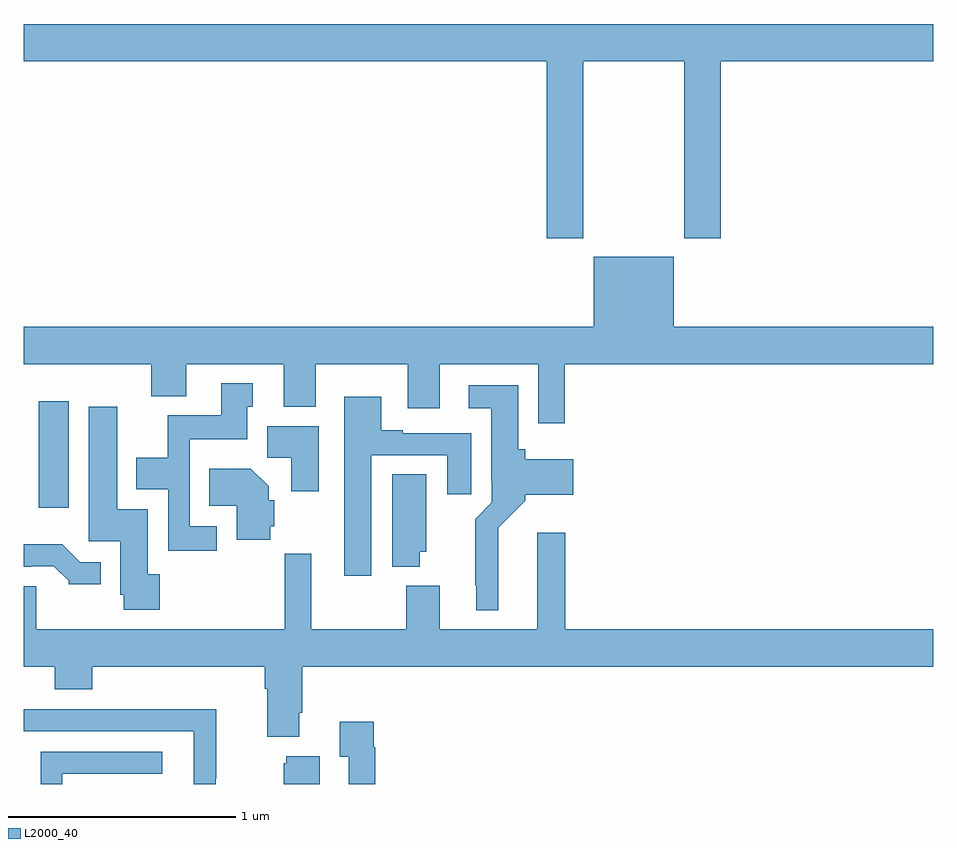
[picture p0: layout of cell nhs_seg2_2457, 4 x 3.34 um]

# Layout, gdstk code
import gdstk
lib = gdstk.Library(unit=1e-6, precision=1e-09)
def R(c, l, rs):  # rectangles x0, y0, x1, y1
    for r in rs: c.add(gdstk.rectangle(r[:2], r[2:], *l))
def P(c, l, *ps):  # polygons
    for p in ps: c.add(gdstk.Polygon(p, *l))
L2000_40 = (2000, 40)

nhs_seg2_2457 = lib.new_cell('nhs_seg2_2457')
R(nhs_seg2_2457, L2000_40, [(239.066,635.016,239.197,635.485)])
P(nhs_seg2_2457, L2000_40, [(241.461,636.98),(241.906,636.98),(241.906,636.201),(242.066,636.201),(242.066,636.98),(243,636.98),(243,637.144),(239,637.144),(239,636.98),(241.301,636.98),(241.301,636.201),(241.461,636.201)],
  [(241.379,635.648),(243,635.648),(243,635.812),(241.858,635.812),(241.858,636.121),(241.508,636.121),(241.508,635.812),(239,635.812),(239,635.648),(239.561,635.648),(239.561,635.507),(239.713,635.507),(239.713,635.648),(240.143,635.648),(240.143,635.459),(240.283,635.459),(240.283,635.648),(240.689,635.648),(240.689,635.454),(240.829,635.454),(240.829,635.648),(241.263,635.648),(241.263,635.388),(241.379,635.388)],
  [(239.848,634.935),(239.73,634.935),(239.73,635.318),(239.983,635.318),(239.983,635.46),(240.007,635.46),(240.007,635.563),(239.867,635.563),(239.867,635.422),(239.632,635.422),(239.632,635.236),(239.495,635.236),(239.495,635.096),(239.634,635.096),(239.634,634.827),(239.848,634.827)],
  [(241.087,634.928),(241.205,635.046),(241.205,635.072),(241.417,635.072),(241.417,635.23),(241.205,635.23),(241.205,635.274),(241.174,635.274),(241.174,635.554),(240.957,635.554),(240.957,635.453),(241.055,635.453),(241.055,635.134),(241.059,635.134),(241.059,635.04),(240.985,634.966),(240.985,634.675),(240.989,634.675),(240.989,634.565),(241.087,634.565)],
  [(240.529,635.247),(240.863,635.247),(240.863,635.076),(240.967,635.076),(240.967,635.343),(240.667,635.343),(240.667,635.356),(240.571,635.356),(240.571,635.503),(240.41,635.503),(240.41,634.716),(240.529,634.716)],
  [(239.597,634.722),(239.545,634.722),(239.545,635.008),(239.41,635.008),(239.41,635.461),(239.285,635.461),(239.285,634.869),(239.423,634.869),(239.423,634.632),(239.44,634.632),(239.44,634.566),(239.597,634.566)],
  [(240.298,635.374),(240.071,635.374),(240.071,635.236),(240.176,635.236),(240.176,635.088),(240.298,635.088)],
  [(240.084,634.935),(240.102,634.935),(240.102,635.049),(240.076,635.049),(240.076,635.11),(239.998,635.188),(239.815,635.188),(239.815,635.024),(239.936,635.024),(239.936,634.874),(240.084,634.874)],
  [(240.742,634.821),(240.769,634.821),(240.769,635.162),(240.62,635.162),(240.62,634.757),(240.742,634.757)],
  [(240.211,634.114),(240.224,634.114),(240.224,634.316),(243,634.316),(243,634.48),(241.382,634.48),(241.382,634.906),(241.259,634.906),(241.259,634.48),(240.829,634.48),(240.829,634.672),(240.682,634.672),(240.682,634.48),(240.265,634.48),(240.265,634.813),(240.148,634.813),(240.148,634.48),(239.053,634.48),(239.053,634.67),(239,634.67),(239,634.316),(239.135,634.316),(239.135,634.217),(239.3,634.217),(239.3,634.316),(240.059,634.316),(240.059,634.22),(240.071,634.22),(240.071,634.007),(240.211,634.007)],
  [(239.338,634.776),(239.247,634.776),(239.169,634.855),(239,634.855),(239,634.755),(239.033,634.755),(239.033,634.758),(239.132,634.758),(239.196,634.694),(239.196,634.679),(239.338,634.679)],
  [(239.844,633.823),(239.847,633.823),(239.847,634.13),(239.383,634.13),(239.383,634.128),(239,634.128),(239,634.032),(239.747,634.032),(239.747,633.808),(239.748,633.808),(239.748,633.8),(239.844,633.8)],
  [(240.545,633.962),(240.538,633.962),(240.538,634.075),(240.389,634.075),(240.389,633.919),(240.429,633.919),(240.429,633.8),(240.545,633.8)],
  [(239.169,633.846),(239.608,633.846),(239.608,633.942),(239.073,633.942),(239.073,633.8),(239.169,633.8)],
  [(240.301,633.922),(240.155,633.922),(240.155,633.891),(240.143,633.891),(240.143,633.8),(240.301,633.8)])

lib.write_gds('nhs_seg2_2457.gds')
